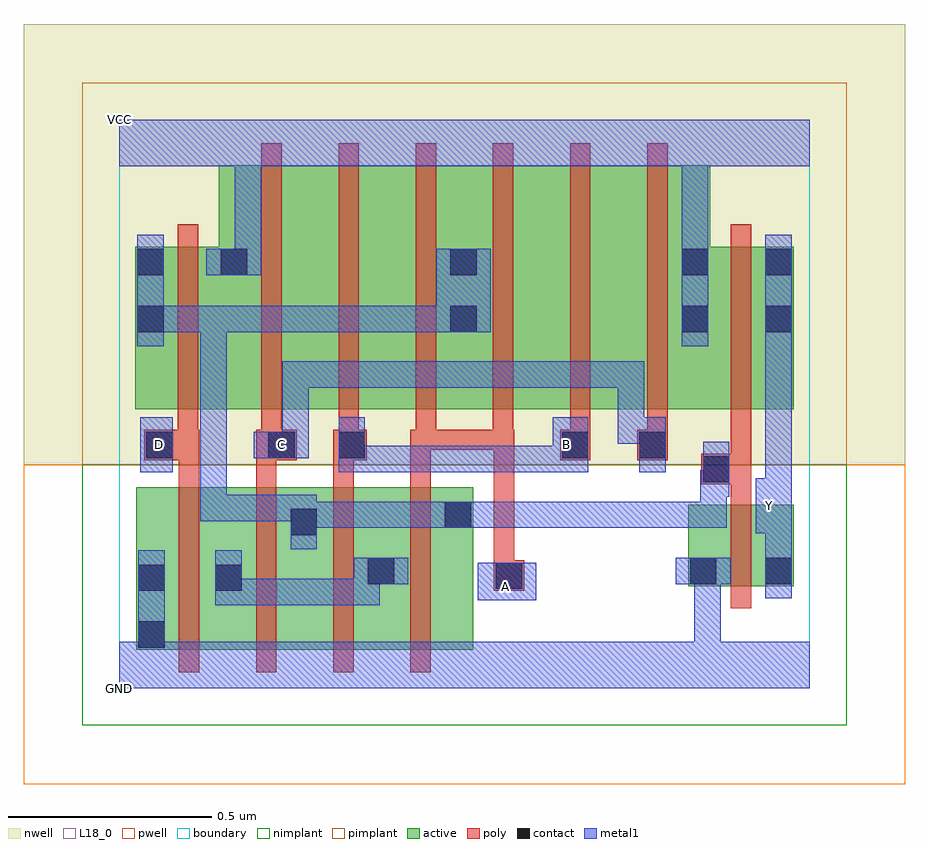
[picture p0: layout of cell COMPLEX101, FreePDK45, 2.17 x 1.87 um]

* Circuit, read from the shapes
.subckt COMPLEX101 A B C D GND VCC Y
M1 n1 D GND VSUBS nfet w=0.4u l=0.05u
M2 n2 C n1 VSUBS nfet w=0.4u l=0.05u
M3 n1 B n2 VSUBS nfet w=0.4u l=0.05u
M4 n2 A n1 VSUBS nfet w=0.4u l=0.05u
M5 Y n2 GND VSUBS nfet w=0.2u l=0.05u
M6 VCC D n2 n3 pfet w=0.4u l=0.05u
M7 n4 C VCC n3 pfet w=0.6u l=0.05u
M8 n5 B n4 n3 pfet w=0.6u l=0.05u
M9 n2 A n5 n3 pfet w=0.6u l=0.05u
M10 n6 A n2 n3 pfet w=0.6u l=0.05u
M11 n7 B n6 n3 pfet w=0.6u l=0.05u
M12 VCC C n7 n3 pfet w=0.6u l=0.05u
M13 Y n2 VCC n3 pfet w=0.4u l=0.05u
.ends

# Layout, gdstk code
import gdstk
lib = gdstk.Library(unit=1e-6, precision=1e-09)
def R(c, l, rs):  # rectangles x0, y0, x1, y1
    for r in rs: c.add(gdstk.rectangle(r[:2], r[2:], *l))
def A(c, l, x, y, w, h, nx, ny, dx, dy):  # array of equal rectangles
    R(c, l, [(x+i*dx, y+j*dy, x+i*dx+w, y+j*dy+h) for i in range(nx) for j in range(ny)])
active = (1, 0)
pwell = (2, 0)
nwell = (3, 0)
nimplant = (4, 0)
pimplant = (5, 0)
poly = (9, 0)
contact = (10, 0)
metal1 = (11, 0)
L18_0 = (18, 0)
boundary = (235, 0)

complex101 = lib.new_cell('COMPLEX101')
R(complex101, active, [(0.042,0.095,0.117,0.495), (0.042,0.095,0.307,0.495), (0.232,0.095,0.307,0.492), (0.232,0.095,0.492,0.495), (0.417,0.095,0.682,0.495), (0.417,0.095,0.492,0.492), (0.607,0.095,0.872,0.495), (0.607,0.095,0.682,0.492), (0.797,0.095,0.872,0.495), (1.4,0.252,1.475,0.452), (1.4,0.252,1.66,0.452), (1.585,0.252,1.66,0.452), (0.04,0.687,0.115,1.087), (0.04,0.687,0.32,1.087), (0.245,0.687,0.47,1.287), (0.47,0.687,0.66,1.287), (0.66,0.687,0.885,1.287), (0.81,0.687,1.04,1.287), (1.04,0.687,1.23,1.287), (1.23,0.687,1.455,1.287), (1.38,0.687,1.66,1.087), (1.38,0.687,1.455,1.287), (1.585,0.687,1.66,1.087), (0.81,0.707,0.885,1.2), (0.245,0.855,0.32,1.287)])
R(complex101, pwell, [(-0.235,-0.235,1.935,0.55)])
R(complex101, nwell, [(-0.235,0.55,1.935,1.635)])
R(complex101, nimplant, [(-0.09,-0.09,1.79,0.55)])
R(complex101, pimplant, [(-0.09,0.55,1.79,1.49)])
A(complex101, poly, 0.147, 0.04, 0.05, 0.51, 4, 1, 0.19, 0)
A(complex101, poly, 0.147, 0.5, 0.05, 0.112, 3, 1, 0.19, 0)
A(complex101, poly, 0.35, 0.587, 0.05, 0.095, 6, 1, 0.19, 0)
A(complex101, poly, 0.35, 0.632, 0.05, 0.71, 6, 1, 0.19, 0)
R(complex101, poly, [(1.505,0.197,1.555,0.507), (0.922,0.24,0.997,0.315), (0.922,0.265,0.972,0.637), (1.505,0.457,1.555,0.552), (0.717,0.5,0.767,0.637), (1.432,0.502,1.555,0.577), (1.505,0.527,1.555,0.682), (0.062,0.562,0.197,0.637), (0.337,0.562,0.437,0.637), (0.527,0.562,0.61,0.637), (1.085,0.562,1.16,0.637), (1.275,0.562,1.35,0.637), (0.145,0.587,0.195,0.682), (0.717,0.587,0.78,0.637), (0.73,0.587,0.78,0.637), (0.73,0.587,0.78,0.637), (0.73,0.587,0.97,0.637), (0.92,0.587,0.97,0.637), (0.92,0.587,0.97,0.637), (0.92,0.587,0.972,0.637), (0.145,0.632,0.195,1.142), (1.505,0.632,1.555,1.142)])
R(complex101, contact, [(0.047,0.1,0.112,0.165), (0.047,0.24,0.112,0.305), (0.237,0.24,0.302,0.305), (0.927,0.245,0.992,0.31), (0.612,0.257,0.677,0.322), (1.405,0.257,1.47,0.322), (1.59,0.257,1.655,0.322), (0.422,0.377,0.487,0.442), (0.802,0.395,0.867,0.46), (1.437,0.507,1.502,0.572), (0.067,0.567,0.132,0.632), (0.367,0.567,0.432,0.632), (0.54,0.567,0.605,0.632), (1.09,0.567,1.155,0.632), (1.28,0.567,1.345,0.632), (0.045,0.877,0.11,0.942), (0.815,0.877,0.88,0.942), (1.385,0.877,1.45,0.942), (1.59,0.877,1.655,0.942), (0.045,1.017,0.11,1.082), (0.25,1.017,0.315,1.082), (0.815,1.017,0.88,1.082), (1.385,1.017,1.45,1.082), (1.59,1.017,1.655,1.082)])
R(complex101, metal1, [(0,0,1.7,0.115), (0.047,0.05,0.112,0.13), (1.415,0.05,1.48,0.115), (1.415,0.05,1.48,0.115), (1.415,0.05,1.48,0.322), (0.047,0.065,0.112,0.34), (0.237,0.205,0.302,0.34), (0.237,0.205,0.302,0.27), (0.237,0.205,0.302,0.27), (0.237,0.205,0.44,0.27), (0.375,0.205,0.44,0.27), (0.375,0.205,0.642,0.27), (0.577,0.205,0.642,0.322), (0.882,0.217,1.027,0.31), (1.59,0.222,1.655,0.357), (0.577,0.257,0.642,0.322), (0.577,0.257,0.712,0.322), (1.37,0.257,1.505,0.322), (1.415,0.257,1.48,0.322), (1.415,0.257,1.48,0.322), (1.59,0.292,1.655,0.447), (0.422,0.342,0.487,0.477), (1.567,0.382,1.655,0.517), (0.422,0.395,0.642,0.46), (0.577,0.395,0.642,0.46), (0.577,0.395,0.642,0.46), (0.577,0.395,0.642,0.46), (0.577,0.395,0.78,0.46), (0.715,0.395,0.78,0.46), (0.715,0.395,0.832,0.46), (0.767,0.395,0.902,0.46), (0.837,0.395,0.995,0.46), (0.93,0.395,0.995,0.46), (0.93,0.395,1.155,0.46), (1.09,0.395,1.155,0.46), (1.09,0.395,1.155,0.46), (1.09,0.395,1.155,0.46), (1.09,0.395,1.292,0.46), (1.227,0.395,1.292,0.46), (1.227,0.395,1.292,0.46), (1.227,0.395,1.292,0.46), (1.227,0.395,1.495,0.46), (1.43,0.395,1.495,0.537), (1.43,0.395,1.495,0.46), (0.2,0.412,0.265,0.477), (0.2,0.412,0.467,0.477), (0.2,0.412,0.265,0.942), (0.402,0.412,0.467,0.477), (0.402,0.412,0.487,0.477), (1.59,0.452,1.655,0.907), (1.43,0.472,1.502,0.537), (1.43,0.472,1.495,0.537), (1.437,0.472,1.502,0.607), (0.052,0.532,0.132,0.667), (0.54,0.532,0.605,0.667), (0.54,0.532,0.625,0.597), (0.56,0.532,0.625,0.597), (0.56,0.532,0.78,0.597), (0.715,0.532,0.78,0.597), (0.715,0.532,0.917,0.597), (0.852,0.532,0.917,0.597), (0.852,0.532,0.917,0.597), (0.852,0.532,0.917,0.597), (0.852,0.532,1.132,0.597), (1.067,0.532,1.155,0.667), (1.067,0.532,1.132,0.597), (1.067,0.532,1.132,0.597), (1.28,0.532,1.345,0.667), (0.332,0.567,0.467,0.632), (0.402,0.567,0.467,0.632), (0.402,0.567,0.467,0.632), (0.402,0.567,0.467,0.805), (1.227,0.602,1.292,0.667), (1.227,0.602,1.345,0.667), (1.227,0.602,1.292,0.805), (0.402,0.74,0.467,0.805), (0.402,0.74,0.642,0.805), (0.577,0.74,0.642,0.805), (0.577,0.74,0.642,0.805), (0.577,0.74,0.642,0.805), (0.577,0.74,0.78,0.805), (0.715,0.74,0.78,0.805), (0.715,0.74,0.995,0.805), (0.93,0.74,0.995,0.805), (0.93,0.74,0.995,0.805), (0.93,0.74,0.995,0.805), (0.93,0.74,1.132,0.805), (1.067,0.74,1.132,0.805), (1.067,0.74,1.132,0.805), (1.067,0.74,1.132,0.805), (1.067,0.74,1.292,0.805), (1.227,0.74,1.292,0.805), (0.045,0.842,0.11,1.117), (1.385,0.842,1.45,1.117), (1.59,0.842,1.655,1.117), (0.045,0.877,0.11,0.942), (0.045,0.877,0.11,0.942), (0.045,0.877,0.265,0.942), (0.2,0.877,0.265,0.942), (0.2,0.877,0.265,0.942), (0.2,0.877,0.265,0.942), (0.2,0.877,0.265,0.942), (0.2,0.877,0.265,0.942), (0.2,0.877,0.467,0.942), (0.402,0.877,0.467,0.942), (0.402,0.877,0.467,0.942), (0.402,0.877,0.467,0.942), (0.402,0.877,0.625,0.942), (0.56,0.877,0.625,0.942), (0.56,0.877,0.625,0.942), (0.56,0.877,0.625,0.942), (0.56,0.877,0.78,0.942), (0.715,0.877,0.78,0.942), (0.715,0.877,0.845,0.942), (0.78,0.877,0.915,1.082), (0.215,1.017,0.35,1.082), (0.285,1.017,0.35,1.35), (1.385,1.052,1.45,1.35), (0,1.285,1.7,1.4)])
R(complex101, L18_0, [(0,0,1.7,0.115), (0.047,0.05,0.112,0.13), (1.415,0.05,1.48,0.115), (1.415,0.05,1.48,0.115), (1.415,0.05,1.48,0.322), (0.047,0.065,0.112,0.34), (0.882,0.217,1.027,0.31), (0.917,0.217,0.982,0.282), (1.59,0.222,1.655,0.357), (1.37,0.257,1.505,0.322), (1.415,0.257,1.48,0.322), (1.415,0.257,1.48,0.322), (1.59,0.292,1.655,0.447), (1.567,0.382,1.655,0.517), (1.567,0.417,1.632,0.482), (1.59,0.452,1.655,0.907), (0.052,0.532,0.132,0.667), (0.54,0.532,0.605,0.667), (0.54,0.532,0.625,0.597), (0.56,0.532,0.625,0.597), (0.56,0.532,0.78,0.597), (0.715,0.532,0.78,0.597), (0.715,0.532,0.917,0.597), (0.852,0.532,0.917,0.597), (0.852,0.532,0.917,0.597), (0.852,0.532,0.917,0.597), (0.852,0.532,1.132,0.597), (1.067,0.532,1.132,0.597), (1.067,0.532,1.132,0.597), (1.067,0.532,1.155,0.667), (1.28,0.532,1.345,0.667), (0.067,0.567,0.132,0.632), (0.332,0.567,0.467,0.632), (0.367,0.567,0.432,0.632), (0.402,0.567,0.467,0.632), (0.402,0.567,0.467,0.632), (0.402,0.567,0.467,0.805), (1.067,0.567,1.132,0.632), (1.227,0.602,1.292,0.667), (1.227,0.602,1.292,0.805), (1.227,0.602,1.345,0.667), (0.402,0.74,0.467,0.805), (0.402,0.74,0.642,0.805), (0.577,0.74,0.642,0.805), (0.577,0.74,0.642,0.805), (0.577,0.74,0.642,0.805), (0.577,0.74,0.78,0.805), (0.715,0.74,0.78,0.805), (0.715,0.74,0.995,0.805), (0.93,0.74,0.995,0.805), (0.93,0.74,0.995,0.805), (0.93,0.74,0.995,0.805), (0.93,0.74,1.132,0.805), (1.067,0.74,1.132,0.805), (1.067,0.74,1.132,0.805), (1.067,0.74,1.132,0.805), (1.067,0.74,1.292,0.805), (1.227,0.74,1.292,0.805), (1.385,0.842,1.45,1.117), (1.59,0.842,1.655,1.117), (0.215,1.017,0.35,1.082), (0.285,1.017,0.35,1.35), (1.385,1.052,1.45,1.35), (0,1.285,1.7,1.4)])
R(complex101, boundary, [(0,0,1.7,1.4)])
complex101.add(gdstk.Label('A', (0.95,0.25), layer=11, texttype=0))
complex101.add(gdstk.Label('B', (1.1,0.6), layer=11, texttype=0))
complex101.add(gdstk.Label('C', (0.4,0.6), layer=11, texttype=0))
complex101.add(gdstk.Label('D', (0.1,0.6), layer=11, texttype=0))
complex101.add(gdstk.Label('Y', (1.6,0.45), layer=11, texttype=0))
complex101.add(gdstk.Label('VCC', (0,1.4), layer=11, texttype=0))
complex101.add(gdstk.Label('GND', (0,0), layer=11, texttype=0))

lib.write_gds('COMPLEX101.gds')
